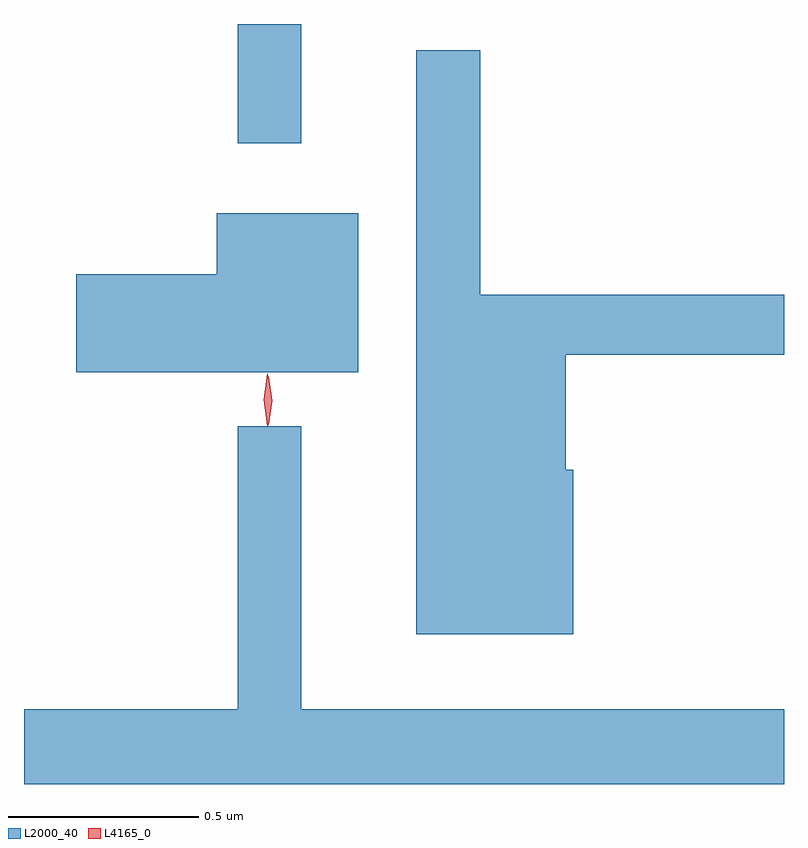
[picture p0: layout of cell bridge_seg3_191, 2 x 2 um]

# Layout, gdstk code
import gdstk
lib = gdstk.Library(unit=1e-6, precision=1e-09)
def R(c, l, rs):  # rectangles x0, y0, x1, y1
    for r in rs: c.add(gdstk.rectangle(r[:2], r[2:], *l))
def P(c, l, *ps):  # polygons
    for p in ps: c.add(gdstk.Polygon(p, *l))
L2000_40 = (2000, 40)
L4165_0 = (4165, 0)

bridge_seg3_191 = lib.new_cell('bridge_seg3_191')
R(bridge_seg3_191, L2000_40, [(883.571,1125.553,883.739,1125.867)])
P(bridge_seg3_191, L2000_40, [(884.454,1124.694),(884.434,1124.694),(884.434,1124.996),(885.009,1124.996),(885.009,1125.154),(884.209,1125.154),(884.209,1125.798),(884.041,1125.798),(884.041,1124.261),(884.454,1124.261)],
  [(883.889,1125.369),(883.516,1125.369),(883.516,1125.209),(883.146,1125.209),(883.146,1124.951),(883.889,1124.951)],
  [(885.009,1124.064),(883.739,1124.064),(883.739,1124.808),(883.571,1124.808),(883.571,1124.064),(883.009,1124.064),(883.009,1123.867),(885.009,1123.867)])
P(bridge_seg3_191, L4165_0, [(883.649,1124.81),(883.64,1124.878),(883.649,1124.946),(883.649,1124.946),(883.65,1124.946),(883.659,1124.878),(883.65,1124.81),(883.65,1124.81)],
  [(883.652,1124.813),(883.652,1124.813),(883.642,1124.876),(883.652,1124.939),(883.652,1124.94),(883.653,1124.939),(883.662,1124.876),(883.653,1124.813)])

lib.write_gds('bridge_seg3_191.gds')
